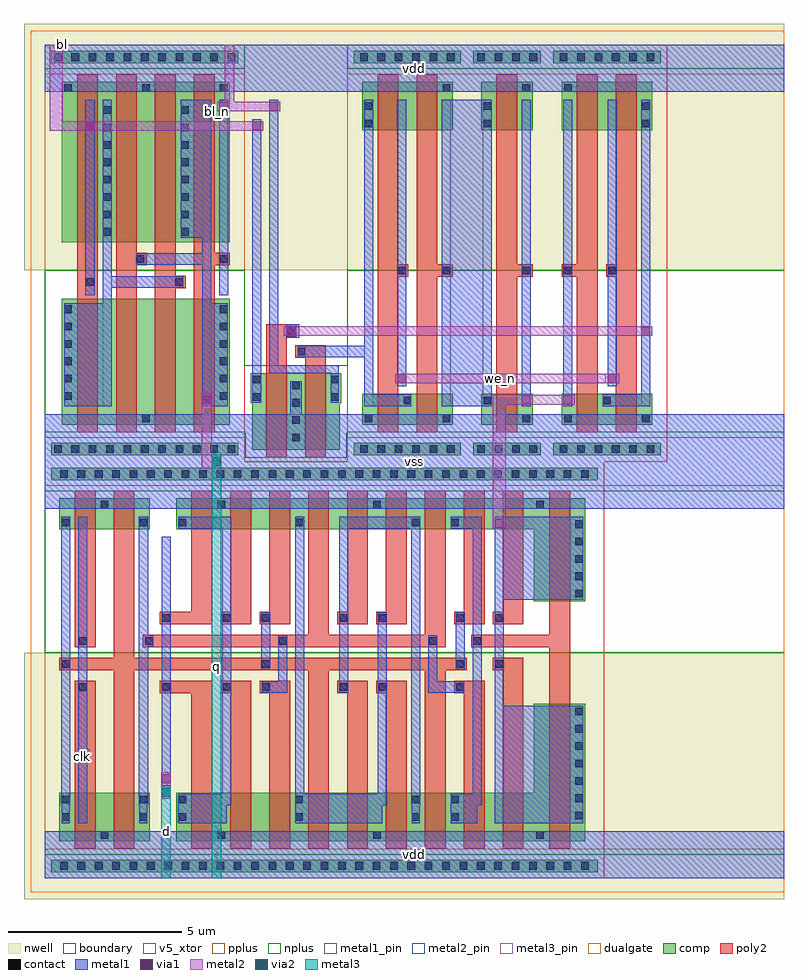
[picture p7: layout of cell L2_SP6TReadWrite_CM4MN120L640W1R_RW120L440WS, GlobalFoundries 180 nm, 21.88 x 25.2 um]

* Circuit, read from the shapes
.subckt L2_SP6TReadWrite_CM4MN120L640W1R_RW120L440WS bl bl_n clk d q vdd vss we_n
XM1 vss clk n1 vss nfet_05v0 w=0.88u l=0.6u
XM2 n2 bl L2_nsnrlatch_x1_5v0_4/nq vss nfet_05v0 w=3.625u l=0.6u
XM3 n3 n1 vss vss nfet_05v0 w=0.88u l=0.6u
XM4 vss q n2 vss nfet_05v0 w=3.625u l=0.6u
XM5 n4 L2_nsnrlatch_x1_5v0_4/nq vss vss nfet_05v0 w=3.625u l=0.6u
XM6 vss d n5 vss nfet_05v0 w=0.88u l=0.6u
XM7 q bl_n n4 vss nfet_05v0 w=3.625u l=0.6u
XM8 n6 n5 vss vss nfet_05v0 w=0.88u l=0.6u
XM9 vss L2_nor2_x0_5v0_1/nq bl vss nfet_05v0 w=2.2u l=0.6u
XM10 n7 n1 n6 vss nfet_05v0 w=0.88u l=0.6u
XM11 bl_n L2_nor2_x0_5v0_3/nq vss vss nfet_05v0 w=2.2u l=0.6u
XM12 n8 n3 n7 vss nfet_05v0 w=0.88u l=0.6u
XM13 vss n9 n8 vss nfet_05v0 w=0.88u l=0.6u
XM14 L2_nor2_x0_5v0_3/nq we_n vss vss nfet_05v0 w=0.88u l=0.6u
XM15 n9 n7 vss vss nfet_05v0 w=0.88u l=0.6u
XM16 vss L2_nor2_x0_5v0_3/i0 L2_nor2_x0_5v0_3/nq vss nfet_05v0 w=0.88u l=0.6u
XM17 n10 n3 n9 vss nfet_05v0 w=0.88u l=0.6u
XM18 n11 n1 n10 vss nfet_05v0 w=0.88u l=0.6u
XM19 vss L2_inv_x0_5v0_2/i L2_nor2_x0_5v0_3/i0 vss nfet_05v0 w=0.88u l=0.6u
XM20 vss L2_inv_x0_5v0_2/i n11 vss nfet_05v0 w=0.88u l=0.6u
XM21 L2_inv_x0_5v0_2/i n10 vss vss nfet_05v0 w=2.965u l=0.6u
XM22 L2_nor2_x0_5v0_1/nq L2_inv_x0_5v0_2/i vss vss nfet_05v0 w=0.88u l=0.6u
XM23 vss we_n L2_nor2_x0_5v0_1/nq vss nfet_05v0 w=0.88u l=0.6u
XM24 vdd clk n1 vdd pfet_05v0 w=1.4u l=0.6u
XM25 L2_nsnrlatch_x1_5v0_4/nq bl vdd vdd pfet_05v0 w=4.625u l=0.6u
XM26 n3 n1 vdd vdd pfet_05v0 w=1.4u l=0.6u
XM27 vdd q L2_nsnrlatch_x1_5v0_4/nq vdd pfet_05v0 w=4.625u l=0.6u
XM28 q L2_nsnrlatch_x1_5v0_4/nq vdd vdd pfet_05v0 w=4.625u l=0.6u
XM29 vdd d n5 vdd pfet_05v0 w=1.4u l=0.6u
XM30 vdd bl_n q vdd pfet_05v0 w=4.625u l=0.6u
XM31 n12 n5 vdd vdd pfet_05v0 w=1.4u l=0.6u
XM32 n7 n3 n12 vdd pfet_05v0 w=1.4u l=0.6u
XM33 n13 n1 n7 vdd pfet_05v0 w=1.4u l=0.6u
XM34 vdd n9 n13 vdd pfet_05v0 w=1.4u l=0.6u
XM35 n14 we_n L2_nor2_x0_5v0_3/nq vdd pfet_05v0 w=1.4u l=0.6u
XM36 n9 n7 vdd vdd pfet_05v0 w=1.4u l=0.6u
XM37 vdd L2_nor2_x0_5v0_3/i0 n14 vdd pfet_05v0 w=1.4u l=0.6u
XM38 n10 n1 n9 vdd pfet_05v0 w=1.4u l=0.6u
XM39 n15 n3 n10 vdd pfet_05v0 w=1.4u l=0.6u
XM40 vdd L2_inv_x0_5v0_2/i L2_nor2_x0_5v0_3/i0 vdd pfet_05v0 w=1.4u l=0.6u
XM41 vdd L2_inv_x0_5v0_2/i n15 vdd pfet_05v0 w=1.4u l=0.6u
XM42 L2_inv_x0_5v0_2/i n10 vdd vdd pfet_05v0 w=3.965u l=0.6u
XM43 n16 L2_inv_x0_5v0_2/i vdd vdd pfet_05v0 w=1.4u l=0.6u
XM44 L2_nor2_x0_5v0_1/nq we_n n16 vdd pfet_05v0 w=1.4u l=0.6u
.ends

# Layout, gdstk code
from math import pi, radians
import gdstk
lib = gdstk.Library(unit=1e-6, precision=1e-09)
def R(c, l, rs):  # rectangles x0, y0, x1, y1
    for r in rs: c.add(gdstk.rectangle(r[:2], r[2:], *l))
def A(c, l, x, y, w, h, nx, ny, dx, dy):  # array of equal rectangles
    R(c, l, [(x+i*dx, y+j*dy, x+i*dx+w, y+j*dy+h) for i in range(nx) for j in range(ny)])
def P(c, l, *ps):  # polygons
    for p in ps: c.add(gdstk.Polygon(p, *l))
boundary = (0, 0)
nwell = (21, 0)
comp = (22, 0)
poly2 = (30, 0)
pplus = (31, 0)
nplus = (32, 0)
contact = (33, 0)
metal1 = (34, 0)
metal1_pin = (34, 10)
via1 = (35, 0)
metal2 = (36, 0)
metal2_pin = (36, 10)
via2 = (38, 0)
metal3 = (42, 0)
metal3_pin = (42, 10)
dualgate = (55, 0)
v5_xtor = (112, 1)

l2_dff_x1_5v0 = lib.new_cell('L2_dff_x1_5v0')
R(l2_dff_x1_5v0, nwell, [(-0.6,5.5,16.7,12.6)])
R(l2_dff_x1_5v0, comp, [(0.18,0.18,15.92,0.54), (0.42,1.065,3.02,1.945), (0.42,9.535,3.02,10.935), (0.18,11.46,15.92,11.82)])
P(l2_dff_x1_5v0, comp, [(3.78,1.065),(3.78,1.945),(14.08,1.945),(14.08,4.03),(15.56,4.03),(15.56,1.065)],
  [(14.08,6.97),(14.08,9.535),(3.78,9.535),(3.78,10.935),(15.56,10.935),(15.56,6.97)])
R(l2_dff_x1_5v0, poly2, [(0.86,0.845,1.46,5.35), (0.86,6.31,1.46,11.155)])
P(l2_dff_x1_5v0, poly2, [(12.9,5.65),(12.9,6.01),(13.18,6.01),(13.18,11.155),(13.78,11.155),(13.78,5.65)],
  [(14.52,0.845),(14.52,4.99),(12.27,4.99),(12.27,5.35),(14.52,5.35),(14.52,11.155),(15.12,11.155),(15.12,0.845)],
  [(4.22,0.845),(4.22,4.33),(3.31,4.33),(3.31,4.69),(4.82,4.69),(4.82,0.845)],
  [(7.58,0.845),(7.58,4.99),(2.82,4.99),(2.82,5.35),(11.54,5.35),(11.54,0.845),(10.94,0.845),(10.94,4.99),(8.18,4.99),(8.18,0.845)],
  [(5.06,6.31),(5.06,6.67),(5.34,6.67),(5.34,11.155),(5.94,11.155),(5.94,6.31)],
  [(6.18,6.31),(6.18,6.67),(6.46,6.67),(6.46,11.155),(7.06,11.155),(7.06,6.31)],
  [(8.42,6.31),(8.42,6.67),(8.7,6.67),(8.7,11.155),(9.3,11.155),(9.3,6.31)],
  [(9.54,6.31),(9.54,6.67),(9.82,6.67),(9.82,11.155),(10.42,11.155),(10.42,6.31)],
  [(11.78,6.31),(11.78,6.67),(12.06,6.67),(12.06,11.155),(12.66,11.155),(12.66,6.31)],
  [(5.34,0.845),(5.34,4.33),(5.06,4.33),(5.06,4.69),(5.94,4.69),(5.94,0.845)],
  [(6.46,0.845),(6.46,4.33),(6.18,4.33),(6.18,4.69),(7.06,4.69),(7.06,0.845)],
  [(8.7,0.845),(8.7,4.33),(8.42,4.33),(8.42,4.69),(9.3,4.69),(9.3,0.845)],
  [(9.82,0.845),(9.82,4.33),(9.54,4.33),(9.54,4.69),(10.42,4.69),(10.42,0.845)],
  [(12.06,0.845),(12.06,4.33),(11.78,4.33),(11.78,4.69),(12.66,4.69),(12.66,0.845)],
  [(13.18,0.845),(13.18,4.33),(12.9,4.33),(12.9,4.69),(13.78,4.69),(13.78,0.845)],
  [(3.31,6.31),(3.31,6.67),(4.22,6.67),(4.22,11.155),(4.82,11.155),(4.82,6.31)],
  [(1.98,0.845),(1.98,5.65),(0.42,5.65),(0.42,6.01),(1.98,6.01),(1.98,11.155),(2.58,11.155),(2.58,6.01),(7.58,6.01),(7.58,11.155),(8.18,11.155),(8.18,6.01),(10.94,6.01),(10.94,11.155),(11.54,11.155),(11.54,6.01),(12.14,6.01),(12.14,5.65),(2.58,5.65),(2.58,0.845)])
R(l2_dff_x1_5v0, pplus, [(0,0,16.1,0.7), (0,5.5,16.1,11.165)])
R(l2_dff_x1_5v0, nplus, [(0,0.835,16.1,5.5), (0,11.3,16.1,12)])
A(l2_dff_x1_5v0, contact, 0.44, 0.25, 0.22, 0.22, 31, 2, 0.5, 11.28)
A(l2_dff_x1_5v0, contact, 3.85, 1.65, 0.22, 0.22, 3, 2, 3.36, 7.97)
A(l2_dff_x1_5v0, contact, 15.27, 1.695, 0.22, 0.22, 1, 5, 0, 0.5)
A(l2_dff_x1_5v0, contact, 15.27, 7.085, 0.22, 0.22, 1, 7, 0, 0.5)
A(l2_dff_x1_5v0, contact, 3.85, 10.12, 0.22, 0.22, 3, 1, 3.36, 0)
R(l2_dff_x1_5v0, contact, [(1.61,1.135,1.83,1.355), (4.97,1.135,5.19,1.355), (9.45,1.135,9.67,1.355), (14.15,1.135,14.37,1.355), (0.49,1.65,0.71,1.87), (2.73,1.65,2.95,1.87), (11.69,1.65,11.91,1.87), (3.38,4.4,3.6,4.62), (5.13,4.4,5.35,4.62), (6.25,4.4,6.47,4.62), (8.49,4.4,8.71,4.62), (9.61,4.4,9.83,4.62), (11.85,4.4,12.07,4.62), (12.97,4.4,13.19,4.62), (0.98,5.06,1.2,5.28), (2.89,5.06,3.11,5.28), (6.74,5.06,6.96,5.28), (11.06,5.06,11.28,5.28), (12.34,5.06,12.56,5.28), (0.49,5.72,0.71,5.94), (6.25,5.72,6.47,5.94), (11.85,5.72,12.07,5.94), (12.97,5.72,13.19,5.94), (0.98,6.38,1.2,6.6), (3.38,6.38,3.6,6.6), (5.13,6.38,5.35,6.6), (6.25,6.38,6.47,6.6), (8.49,6.38,8.71,6.6), (9.61,6.38,9.83,6.6), (11.85,6.38,12.07,6.6), (0.49,9.62,0.71,9.84), (2.73,9.62,2.95,9.84), (11.69,9.62,11.91,9.84), (0.49,10.12,0.71,10.34), (2.73,10.12,2.95,10.34), (11.69,10.12,11.91,10.34), (1.61,10.645,1.83,10.865), (4.97,10.645,5.19,10.865), (9.45,10.645,9.67,10.865), (14.15,10.645,14.37,10.865)])
R(l2_dff_x1_5v0, metal1, [(0,0,16.1,1.36), (0.96,1.59,1.22,10.41), (3.36,2.16,3.62,9.33), (6.23,4.34,6.49,6), (11.83,4.34,12.09,6), (0,10.64,16.1,12)])
P(l2_dff_x1_5v0, metal1, [(11.685,1.59),(11.685,1.93),(12.32,1.93),(12.32,9.56),(11.685,9.56),(11.685,10.41),(12.45,10.41),(12.45,9.9),(12.58,9.9),(12.58,1.59)],
  [(8.47,1.59),(8.47,6.66),(8.73,6.66),(8.73,1.93),(10.55,1.93),(10.55,9.9),(10.565,9.9),(10.565,10.41),(10.795,10.41),(10.795,9.9),(10.81,9.9),(10.81,1.59)],
  [(3.845,1.59),(3.845,1.93),(5.11,1.93),(5.11,9.56),(3.845,9.56),(3.845,10.41),(5.24,10.41),(5.24,9.9),(5.37,9.9),(5.37,1.59)],
  [(2.71,1.59),(2.71,9.9),(2.725,9.9),(2.725,10.41),(2.955,10.41),(2.955,9.9),(2.97,9.9),(2.97,5.34),(3.115,5.34),(3.115,5),(2.97,5),(2.97,1.59)],
  [(12.95,1.59),(12.95,10.41),(15.495,10.41),(15.495,7.025),(13.21,7.025),(13.21,3.975),(15.495,3.975),(15.495,1.59)],
  [(11.04,5),(11.04,6.66),(12.075,6.66),(12.075,6.32),(11.3,6.32),(11.3,5)],
  [(6.72,5),(6.72,6.32),(6.245,6.32),(6.245,6.66),(6.98,6.66),(6.98,5)],
  [(7.205,1.59),(7.205,1.93),(7.21,1.93),(7.21,9.56),(7.205,9.56),(7.205,10.41),(9.72,10.41),(9.72,9.9),(9.85,9.9),(9.85,4.34),(9.59,4.34),(9.59,9.56),(7.47,9.56),(7.47,1.59)],
  [(0.47,1.59),(0.47,9.9),(0.485,9.9),(0.485,10.41),(0.715,10.41),(0.715,9.9),(0.73,9.9),(0.73,1.59)])
R(l2_dff_x1_5v0, metal1_pin, [(0,0,16.1,1.36), (0.96,1.59,1.22,10.41), (12.95,1.59,13.21,10.41), (3.36,2.16,3.62,9.33), (0,10.64,16.1,12)])
R(l2_dff_x1_5v0, dualgate, [(-0.4,-0.4,16.5,12.4)])
R(l2_dff_x1_5v0, v5_xtor, [(-0.005,-0.005,16.105,12.005)])
l2_dff_x1_5v0.add(gdstk.Label('q', (13.08,6), layer=34, texttype=10))
l2_dff_x1_5v0.add(gdstk.Label('i', (3.49,5.745), layer=34, texttype=10))
l2_dff_x1_5v0.add(gdstk.Label('clk', (1.09,6), layer=34, texttype=10))
l2_dff_x1_5v0.add(gdstk.Label('vss', (8.05,0.68), layer=34, texttype=10))
l2_dff_x1_5v0.add(gdstk.Label('vdd', (8.05,11.32), layer=34, texttype=10))

l2_nor2_x0_5v0 = lib.new_cell('L2_nor2_x0_5v0')
R(l2_nor2_x0_5v0, nwell, [(-0.6,5.5,4.05,12.6)])
R(l2_nor2_x0_5v0, comp, [(0.18,0.18,3.27,0.54), (0.42,1.065,3.02,1.945), (0.42,9.535,3.02,10.935), (0.18,11.46,3.27,11.82)])
P(l2_nor2_x0_5v0, poly2, [(1.98,0.845),(1.98,5.32),(1.7,5.32),(1.7,5.68),(1.98,5.68),(1.98,11.155),(2.58,11.155),(2.58,0.845)],
  [(0.86,0.845),(0.86,5.32),(0.42,5.32),(0.42,5.68),(0.86,5.68),(0.86,11.155),(1.46,11.155),(1.46,0.845)])
R(l2_nor2_x0_5v0, pplus, [(0,0,3.45,0.7), (0,5.5,3.45,11.165)])
R(l2_nor2_x0_5v0, nplus, [(0,0.835,3.45,5.5), (0,11.3,3.45,12)])
A(l2_nor2_x0_5v0, contact, 0.365, 0.25, 0.22, 0.22, 6, 2, 0.5, 11.28)
R(l2_nor2_x0_5v0, contact, [(0.49,1.135,0.71,1.355), (2.73,1.135,2.95,1.355), (1.61,1.65,1.83,1.87), (0.49,5.39,0.71,5.61), (1.77,5.39,1.99,5.61), (2.73,9.62,2.95,9.84), (2.73,10.12,2.95,10.34), (0.49,10.645,0.71,10.865)])
R(l2_nor2_x0_5v0, metal1, [(0,0,3.45,1.36), (0.47,1.59,0.73,10.41), (1.75,2.16,2.01,10.41), (0,10.64,3.45,12)])
P(l2_nor2_x0_5v0, metal1, [(1.605,1.59),(1.605,1.93),(2.71,1.93),(2.71,10.41),(2.97,10.41),(2.97,1.59)])
R(l2_nor2_x0_5v0, metal1_pin, [(0,0,3.45,1.36), (0.47,1.59,0.73,10.41), (2.71,1.59,2.97,10.41), (1.75,2.16,2.01,10.41), (0,10.64,3.45,12)])
R(l2_nor2_x0_5v0, dualgate, [(-0.4,-0.4,3.85,12.4)])
R(l2_nor2_x0_5v0, v5_xtor, [(-0.005,-0.005,3.455,12.005)])
l2_nor2_x0_5v0.add(gdstk.Label('i1', (1.88,6.285), layer=34, texttype=10))
l2_nor2_x0_5v0.add(gdstk.Label('i0', (0.6,6), layer=34, texttype=10))
l2_nor2_x0_5v0.add(gdstk.Label('nq', (2.84,6), layer=34, texttype=10))
l2_nor2_x0_5v0.add(gdstk.Label('vdd', (1.725,11.32), layer=34, texttype=10))
l2_nor2_x0_5v0.add(gdstk.Label('vss', (1.725,0.68), layer=34, texttype=10))

l2_inv_x0_5v0 = lib.new_cell('L2_inv_x0_5v0')
R(l2_inv_x0_5v0, nwell, [(-0.6,5.5,2.9,12.6)])
R(l2_inv_x0_5v0, comp, [(0.18,0.18,2.12,0.54), (0.42,1.065,1.9,1.945), (0.42,9.535,1.9,10.935), (0.18,11.46,2.12,11.82)])
P(l2_inv_x0_5v0, poly2, [(0.86,0.845),(0.86,5.32),(0.42,5.32),(0.42,5.68),(0.86,5.68),(0.86,11.155),(1.46,11.155),(1.46,0.845)])
R(l2_inv_x0_5v0, pplus, [(0,0,2.3,0.7), (0,5.5,2.3,11.165)])
R(l2_inv_x0_5v0, nplus, [(0,0.835,2.3,5.5), (0,11.3,2.3,12)])
A(l2_inv_x0_5v0, contact, 0.29, 0.25, 0.22, 0.22, 4, 2, 0.5, 11.28)
R(l2_inv_x0_5v0, contact, [(0.49,1.135,0.71,1.355), (1.61,1.65,1.83,1.87), (0.49,5.39,0.71,5.61), (1.61,9.62,1.83,9.84), (1.61,10.12,1.83,10.34), (0.49,10.645,0.71,10.865)])
R(l2_inv_x0_5v0, metal1, [(0,0,2.3,1.36), (0.47,1.59,0.73,10.41), (1.59,1.59,1.85,10.41), (0,10.64,2.3,12)])
R(l2_inv_x0_5v0, metal1_pin, [(0,0,2.3,1.36), (0.47,1.59,0.73,10.41), (1.59,1.59,1.85,10.41), (0,10.64,2.3,12)])
R(l2_inv_x0_5v0, dualgate, [(-0.4,-0.4,2.7,12.4)])
R(l2_inv_x0_5v0, v5_xtor, [(-0.005,-0.005,2.305,12.005)])
l2_inv_x0_5v0.add(gdstk.Label('i', (0.6,6), layer=34, texttype=10))
l2_inv_x0_5v0.add(gdstk.Label('nq', (1.72,6), layer=34, texttype=10))
l2_inv_x0_5v0.add(gdstk.Label('vdd', (1.15,11.32), layer=34, texttype=10))
l2_inv_x0_5v0.add(gdstk.Label('vss', (1.15,0.68), layer=34, texttype=10))

l2_nsnrlatch_x1_5v0 = lib.new_cell('L2_nsnrlatch_x1_5v0')
R(l2_nsnrlatch_x1_5v0, nwell, [(-0.6,5.5,6.35,12.6)])
R(l2_nsnrlatch_x1_5v0, comp, [(0.18,0.18,5.57,0.54), (0.42,1.065,5.26,4.69), (0.42,6.31,5.26,10.935), (0.18,11.46,5.57,11.82)])
R(l2_nsnrlatch_x1_5v0, poly2, [(4.22,0.845,4.82,11.155), (1.88,4.99,2.28,5.35), (4.45,4.99,4.52,5.35)])
P(l2_nsnrlatch_x1_5v0, poly2, [(1.98,0.845),(1.98,4.99),(1.7,4.99),(1.7,5.35),(1.98,5.35),(1.98,11.155),(2.58,11.155),(2.58,0.845)],
  [(0.86,0.845),(0.86,5.65),(0.42,5.65),(0.42,6.01),(0.86,6.01),(0.86,11.155),(1.46,11.155),(1.46,0.845)],
  [(3.1,0.845),(3.1,5.65),(2.82,5.65),(2.82,6.01),(3.1,6.01),(3.1,11.155),(3.7,11.155),(3.7,0.845)])
R(l2_nsnrlatch_x1_5v0, pplus, [(0,0,5.75,0.7), (0,5.5,5.75,11.165)])
R(l2_nsnrlatch_x1_5v0, nplus, [(0,0.835,5.75,5.5), (0,11.3,5.75,12)])
A(l2_nsnrlatch_x1_5v0, contact, 0.265, 0.25, 0.22, 0.22, 11, 2, 0.5, 11.28)
A(l2_nsnrlatch_x1_5v0, contact, 0.49, 1.775, 0.22, 0.22, 1, 6, 0, 0.5)
A(l2_nsnrlatch_x1_5v0, contact, 4.97, 1.775, 0.22, 0.22, 1, 6, 0, 0.5)
A(l2_nsnrlatch_x1_5v0, contact, 1.61, 6.505, 0.22, 0.22, 1, 8, 0, 0.5)
A(l2_nsnrlatch_x1_5v0, contact, 3.85, 6.505, 0.22, 0.22, 1, 8, 0, 0.5)
A(l2_nsnrlatch_x1_5v0, contact, 0.49, 10.645, 0.22, 0.22, 3, 1, 2.24, 0)
R(l2_nsnrlatch_x1_5v0, contact, [(2.73,1.135,2.95,1.355), (1.77,5.06,1.99,5.28), (4.34,5.06,4.56,5.28), (0.49,5.72,0.71,5.94), (2.89,5.72,3.11,5.94)])
R(l2_nsnrlatch_x1_5v0, metal1, [(0,0,5.75,1.36), (0.47,4.785,0.73,10.41), (4.32,4.785,4.58,10.41), (0,10.64,5.75,12)])
P(l2_nsnrlatch_x1_5v0, metal1, [(3.83,1.59),(3.83,5),(1.765,5),(1.765,5.34),(3.83,5.34),(3.83,10.41),(4.09,10.41),(4.09,4.555),(5.195,4.555),(5.195,1.59)],
  [(0.485,1.59),(0.485,4.555),(0.96,4.555),(0.96,10.41),(1.835,10.41),(1.835,6.445),(1.22,6.445),(1.22,6),(3.115,6),(3.115,5.66),(1.22,5.66),(1.22,1.59)])
R(l2_nsnrlatch_x1_5v0, metal1_pin, [(0,0,5.75,1.36), (0.96,1.59,1.22,10.41), (3.83,1.59,4.09,10.41), (0.47,4.785,0.73,10.41), (4.32,4.785,4.58,10.41), (0,10.64,5.75,12)])
R(l2_nsnrlatch_x1_5v0, dualgate, [(-0.4,-0.4,6.15,12.4)])
R(l2_nsnrlatch_x1_5v0, v5_xtor, [(-0.005,-0.005,5.755,12.005)])
l2_nsnrlatch_x1_5v0.add(gdstk.Label('nrst', (4.45,7.598), layer=34, texttype=10))
l2_nsnrlatch_x1_5v0.add(gdstk.Label('nq', (3.96,6), layer=34, texttype=10))
l2_nsnrlatch_x1_5v0.add(gdstk.Label('nset', (0.6,7.598), layer=34, texttype=10))
l2_nsnrlatch_x1_5v0.add(gdstk.Label('vss', (2.875,0.68), layer=34, texttype=10))
l2_nsnrlatch_x1_5v0.add(gdstk.Label('vdd', (2.875,11.32), layer=34, texttype=10))
l2_nsnrlatch_x1_5v0.add(gdstk.Label('q', (1.09,6), layer=34, texttype=10))

l2_sp6treadwrite_cm4mn12 = lib.new_cell('L2_SP6TReadWrite_CM4MN120L640W1R_RW120L440WS')
R(l2_sp6treadwrite_cm4mn12, boundary, [(0,0,21.28,24)])
R(l2_sp6treadwrite_cm4mn12, nwell, [(-0.6,-0.6,21.28,6.5), (-0.6,17.5,21.28,24.6)])
P(l2_sp6treadwrite_cm4mn12, comp, [(5.97,12.34),(5.97,13.68),(5.93,13.68),(5.93,14.54),(8.53,14.54),(8.53,13.68),(8.49,13.68),(8.49,12.34)])
P(l2_sp6treadwrite_cm4mn12, poly2, [(7.49,12.12),(7.49,14.985),(7.21,14.985),(7.21,15.345),(8.09,15.345),(8.09,12.12)],
  [(6.37,12.12),(6.37,15.945),(7.24,15.945),(7.24,15.585),(6.97,15.585),(6.97,12.12)])
R(l2_sp6treadwrite_cm4mn12, pplus, [(0,0.835,21.28,6.5), (14.46,17.5,21.28,23.165)])
P(l2_sp6treadwrite_cm4mn12, pplus, [(0,11.3),(0,12),(14.46,12),(14.46,12.7),(21.28,12.7),(21.28,11.3)])
R(l2_sp6treadwrite_cm4mn12, nplus, [(0,0,21.28,0.7), (0,6.5,21.28,11.165), (14.46,12.835,21.28,17.5), (14.46,23.3,21.28,24)])
P(l2_sp6treadwrite_cm4mn12, nplus, [(5.77,12.11),(5.77,12.835),(5.75,12.835),(5.75,14.77),(8.71,14.77),(8.71,12.835),(8.69,12.835),(8.69,12.11)])
A(l2_sp6treadwrite_cm4mn12, contact, 7.12, 12.58, 0.22, 0.22, 1, 4, 0, 0.5)
R(l2_sp6treadwrite_cm4mn12, contact, [(6,13.75,6.22,13.97), (8.24,13.75,8.46,13.97), (6,14.25,6.22,14.47), (8.24,14.25,8.46,14.47), (7.28,15.055,7.5,15.275), (6.95,15.655,7.17,15.875)])
R(l2_sp6treadwrite_cm4mn12, metal1, [(0,0,21.28,1.36), (3.36,2.67,3.62,3.05), (0.96,3.33,1.22,3.71), (12.95,10.03,13.21,10.41), (4.53,13.59,4.79,13.97), (11.56,13.59,12.87,22.41), (13.73,13.59,13.99,13.97), (14.93,13.59,15.19,13.97), (5.965,13.69,6.225,21.85), (10.15,14.2,10.41,14.58), (16.21,14.2,16.47,14.58), (7.275,14.995,9.45,15.335), (6.945,15.565,7.325,15.945), (17.17,15.565,17.43,15.945), (1.17,21.47,1.43,21.85), (5.02,22.03,5.28,22.41), (0,22.64,21.28,24)])
P(l2_sp6treadwrite_cm4mn12, metal1, [(8.235,13.69),(8.235,14.535),(6.455,14.535),(6.455,22.41),(6.715,22.41),(6.715,14.765),(8.465,14.765),(8.465,13.69)],
  [(0,10.64),(0,13.36),(7.06,13.36),(7.06,14.305),(7.4,14.305),(7.4,13.36),(21.28,13.36),(21.28,10.64)])
R(l2_sp6treadwrite_cm4mn12, metal1_pin, [(0,0,21.28,1.36), (0,10.64,21.28,13.36), (0,22.64,21.28,24)])
R(l2_sp6treadwrite_cm4mn12, via1, [(3.36,2.73,3.62,2.99), (0.96,3.39,1.22,3.65), (12.95,10.09,13.21,10.35), (4.53,13.65,4.79,13.91), (13.73,13.65,13.99,13.91), (14.93,13.65,15.19,13.91), (10.15,14.26,10.41,14.52), (16.21,14.26,16.47,14.52), (6.945,15.625,7.205,15.885), (17.17,15.625,17.43,15.885), (1.17,21.53,1.43,21.79), (5.965,21.53,6.225,21.79), (5.02,22.09,5.28,22.35), (6.455,22.09,6.715,22.35)])
R(l2_sp6treadwrite_cm4mn12, metal2, [(3.35,2.29,3.63,3.05), (0.9,3.33,1.28,3.71), (10.09,14.25,16.53,14.53), (6.885,15.615,17.49,15.895)])
P(l2_sp6treadwrite_cm4mn12, metal2, [(12.89,10.08),(12.89,13.92),(15.25,13.92),(15.25,13.64),(13.27,13.64),(13.27,10.08)],
  [(4.52,11.81),(4.52,13.97),(4.8,13.97),(4.8,12.19),(5.08,12.19),(5.08,11.81)],
  [(4.96,22.08),(4.96,22.36),(5.18,22.36),(5.18,24),(5.46,24),(5.46,22.36),(6.775,22.36),(6.775,22.08)],
  [(0.14,21.52),(0.14,24),(0.52,24),(0.52,21.8),(6.285,21.8),(6.285,21.52)])
R(l2_sp6treadwrite_cm4mn12, metal2_pin, [(0.9,3.33,1.28,3.71), (10.09,14.25,16.15,14.53)])
P(l2_sp6treadwrite_cm4mn12, metal2_pin, [(4.96,22.08),(4.96,22.36),(5.18,22.36),(5.18,24),(5.46,24),(5.46,22.36),(6.775,22.36),(6.775,22.08)],
  [(0.14,21.52),(0.14,24),(0.52,24),(0.52,21.8),(6.285,21.8),(6.285,21.52)])
R(l2_sp6treadwrite_cm4mn12, via2, [(3.36,2.35,3.62,2.61), (4.81,11.87,5.07,12.13)])
R(l2_sp6treadwrite_cm4mn12, metal3, [(3.35,0,3.63,2.67), (4.8,0,5.08,12.19)])
R(l2_sp6treadwrite_cm4mn12, metal3_pin, [(3.35,0,3.63,2.67), (4.8,0,5.08,12.19)])
R(l2_sp6treadwrite_cm4mn12, dualgate, [(-0.4,-0.4,21.28,24.4)])
R(l2_sp6treadwrite_cm4mn12, v5_xtor, [(6.365,12.335,6.975,14.545), (7.485,12.335,8.095,14.545)])
l2_sp6treadwrite_cm4mn12.add(gdstk.Reference(l2_dff_x1_5v0, (0,12), x_reflection=True))
l2_sp6treadwrite_cm4mn12.add(gdstk.Reference(l2_nor2_x0_5v0, (14.46,12)))
l2_sp6treadwrite_cm4mn12.add(gdstk.Reference(l2_inv_x0_5v0, (14.46,12), rotation=pi, x_reflection=True))
l2_sp6treadwrite_cm4mn12.add(gdstk.Reference(l2_nor2_x0_5v0, (12.16,12), rotation=pi, x_reflection=True))
l2_sp6treadwrite_cm4mn12.add(gdstk.Reference(l2_nsnrlatch_x1_5v0, (5.75,12), rotation=pi, x_reflection=True))
l2_sp6treadwrite_cm4mn12.add(gdstk.Label('vdd', (10.64,0.68), layer=34, texttype=10))
l2_sp6treadwrite_cm4mn12.add(gdstk.Label('vdd', (10.64,23.32), layer=34, texttype=10))
l2_sp6treadwrite_cm4mn12.add(gdstk.Label('vss', (10.64,12), layer=34, texttype=10))
l2_sp6treadwrite_cm4mn12.add(gdstk.Label('d', (3.49,1.335), layer=42, texttype=10))
l2_sp6treadwrite_cm4mn12.add(gdstk.Label('q', (4.94,6.095), layer=42, texttype=10))
l2_sp6treadwrite_cm4mn12.add(gdstk.Label('we_n', (13.12,14.39), layer=36, texttype=10))
l2_sp6treadwrite_cm4mn12.add(gdstk.Label('clk', (1.09,3.52), layer=36, texttype=10))
l2_sp6treadwrite_cm4mn12.add(gdstk.Label('bl_n', (4.96,22.08), layer=36, texttype=10))
l2_sp6treadwrite_cm4mn12.add(gdstk.Label('bl', (0.52,24), layer=36, texttype=10))

lib.write_gds('L2_SP6TReadWrite_CM4MN120L640W1R_RW120L440WS.gds')
